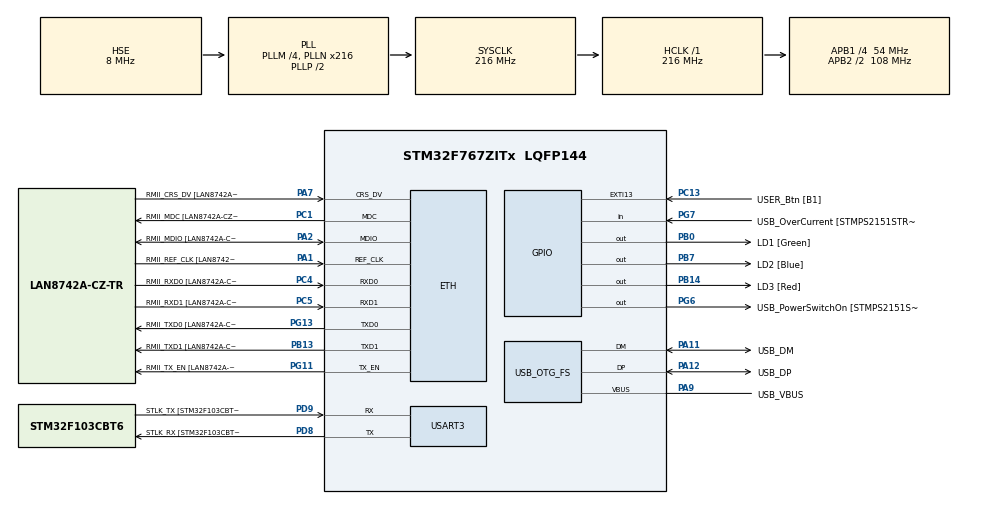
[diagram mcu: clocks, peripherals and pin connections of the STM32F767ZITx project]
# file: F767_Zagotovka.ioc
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ETH.MediaInterface=HAL_ETH_RMII_MODE
ETH.PHY_Name=LAN8742A_PHY_ADDRESS
ETH.PHY_Value=0
ETH.PhyAddress=0
FATFS._MAX_SS=4096
FREERTOS.Queues01=myQueue,16,struct data_pin_t,0,Dynamic,NULL,NULL;usbQueue,16,uint16_t,0,Dynamic,NULL,NULL
FREERTOS.Tasks01=ConfigTask,24,512,StartConfigTask,Default,NULL,Dynamic,NULL,NULL;WebServerTask,24,2048,StartWebServerTask,Default,NULL,Dynamic,NULL,NULL;OutputTask,24,512,StartOutputTask,Default,NULL,Dynamic,NULL,NULL;CronTask,24,512,StartCronTask,Default,NULL,Dynamic,NULL,NULL;InputTask,24,512,StartInputTask,Default,NULL,Dynamic,NULL,NULL;OnewireTask,24,512,StartOnewireTask,Default,NULL,Dynamic,NULL,NULL;EncoderTask,24,512,StartEncoderTask,Default,NULL,Dynamic,NULL,NULL
FREERTOS.configTOTAL_HEAP_SIZE=65536
FREERTOS.configUSE_NEWLIB_REENTRANT=1
Mcu.Family=STM32F7
Mcu.Name=STM32F767ZITx
Mcu.Package=LQFP144
NVIC.ETH_IRQn=true\:5\:0\:false\:false\:true\:true\:true\:true\:true
NVIC.OTG_FS_IRQn=true\:5\:0\:false\:false\:true\:true\:false\:true\:true
NVIC.PriorityGroup=NVIC_PRIORITYGROUP_4
NVIC.TIM6_DAC_IRQn=true\:15\:0\:false\:false\:true\:false\:false\:true\:true
NVIC.TimeBase=TIM6_DAC_IRQn
NVIC.TimeBaseIP=TIM6
PA1.GPIO_Label=RMII_REF_CLK [LAN8742A-CZ-TR_REFCLK0]
PA1.Mode=RMII
PA1.Signal=ETH_REF_CLK
PA10.GPIO_Label=USB_ID
PA10.Signal=USB_OTG_FS_ID
PA11.GPIO_Label=USB_DM
PA11.Mode=Host_Only
PA11.Signal=USB_OTG_FS_DM
PA12.GPIO_Label=USB_DP
PA12.Mode=Host_Only
PA12.Signal=USB_OTG_FS_DP
PA13.GPIO_Label=TMS
PA13.Mode=Trace_Asynchronous_SW
PA13.Signal=SYS_JTMS-SWDIO
PA14.GPIO_Label=TCK
PA14.Mode=Trace_Asynchronous_SW
PA14.Signal=SYS_JTCK-SWCLK
PA2.GPIO_Label=RMII_MDIO [LAN8742A-CZ-TR_MDIO]
PA2.Mode=RMII
PA2.Signal=ETH_MDIO
PA7.GPIO_Label=RMII_CRS_DV [LAN8742A-CZ-TR_CRS_DV]
PA7.Mode=RMII
PA7.Signal=ETH_CRS_DV
PA8.GPIO_Label=USB_SOF [TP1]
PA8.Signal=USB_OTG_FS_SOF
PA9.GPIO_Label=USB_VBUS
PA9.Mode=Activate_VBUS
PA9.Signal=USB_OTG_FS_VBUS
PB0.GPIO_Label=LD1 [Green]
PB0.Signal=GPIO_Output
PB13.GPIO_Label=RMII_TXD1 [LAN8742A-CZ-TR_TXD1]
PB13.Mode=RMII
PB13.Signal=ETH_TXD1
PB14.GPIO_Label=LD3 [Red]
PB14.Signal=GPIO_Output
PB3.GPIO_Label=SWO
PB3.Mode=Trace_Asynchronous_SW
PB3.Signal=SYS_JTDO-SWO
PB7.GPIO_Label=LD2 [Blue]
PB7.Signal=GPIO_Output
PC1.GPIO_Label=RMII_MDC [LAN8742A-CZ-TR_MDC]
PC1.Mode=RMII
PC1.Signal=ETH_MDC
PC13.GPIO_Label=USER_Btn [B1]
PC13.Signal=GPXTI13
PC14/OSC32_IN.Mode=LSE-External-Oscillator
PC14/OSC32_IN.Signal=RCC_OSC32_IN
PC15/OSC32_OUT.Mode=LSE-External-Oscillator
PC15/OSC32_OUT.Signal=RCC_OSC32_OUT
PC4.GPIO_Label=RMII_RXD0 [LAN8742A-CZ-TR_RXD0]
PC4.Mode=RMII
PC4.Signal=ETH_RXD0
PC5.GPIO_Label=RMII_RXD1 [LAN8742A-CZ-TR_RXD1]
PC5.Mode=RMII
PC5.Signal=ETH_RXD1
PD8.GPIO_Label=STLK_RX [STM32F103CBT6_PA3]
PD8.Mode=Asynchronous
PD8.Signal=USART3_TX
PD9.GPIO_Label=STLK_TX [STM32F103CBT6_PA2]
PD9.Mode=Asynchronous
PD9.Signal=USART3_RX
PG11.GPIO_Label=RMII_TX_EN [LAN8742A-CZ-TR_TXEN]
PG11.Mode=RMII
PG11.Signal=ETH_TX_EN
PG13.GPIO_Label=RMII_TXD0 [LAN8742A-CZ-TR_TXD0]
PG13.Mode=RMII
PG13.Signal=ETH_TXD0
PG6.GPIO_Label=USB_PowerSwitchOn [STMPS2151STR_EN]
PG6.Signal=GPIO_Output
PG7.GPIO_Label=USB_OverCurrent [STMPS2151STR_FAULT]
PG7.Signal=GPIO_Input
PH0/OSC_IN.GPIO_Label=MCO [STM32F103CBT6_PA8]
PH0/OSC_IN.Mode=HSE-External-Oscillator
PH0/OSC_IN.Signal=RCC_OSC_IN
PH1/OSC_OUT.Mode=HSE-External-Oscillator
PH1/OSC_OUT.Signal=RCC_OSC_OUT
ProjectManager.HeapSize=0x200
ProjectManager.StackSize=0x400
ProjectManager.TargetToolchain=STM32CubeIDE
RCC.48MHZClocksFreq_Value=24000000
RCC.AHBFreq_Value=216000000
RCC.APB1CLKDivider=RCC_HCLK_DIV4
RCC.APB1Freq_Value=54000000
RCC.APB1TimFreq_Value=108000000
RCC.APB2CLKDivider=RCC_HCLK_DIV2
RCC.APB2Freq_Value=108000000
RCC.APB2TimFreq_Value=216000000
RCC.CortexFreq_Value=216000000
RCC.HCLKFreq_Value=216000000
RCC.HSE_VALUE=8000000
RCC.HSI_VALUE=16000000
RCC.PLLM=4
RCC.PLLMUL=RCC_PLL_MUL9
RCC.PLLN=216
RCC.PLLQ=9
RCC.PRESCALERUSB=RCC_USBCLKSOURCE_PLL_DIV1_5
RCC.SYSCLKFreq_VALUE=216000000
RCC.SYSCLKSource=RCC_SYSCLKSOURCE_PLLCLK
RCC.SYSCLKSourceVirtual=RCC_SYSCLKSOURCE_PLLCLK
RCC.USBFreq_Value=48000000
RCC.VCOOutputFreq_Value=432000000
USART3.VirtualMode-Asynchronous=VM_ASYNC
USB_HOST.BSP.number=1
USB_HOST.USBH_HandleTypeDef-MSC_FS=hUsbHostFS
USB_HOST.USBH_PROCESS_STACK_SIZE-MSC_FS=8*128
USB_HOST.VirtualModeFS=Msc
USB_HOST0.BSP.STBoard=false
USB_HOST0.BSP.api=Unknown
USB_HOST0.BSP.condition=SW_VBUS_DRIVE_MSC_FS \= false
USB_HOST0.BSP.instance=PG6
USB_HOST0.BSP.ip=GPIO
USB_HOST0.BSP.mode=Output
USB_HOST0.BSP.name=Drive_VBUS_FS
USB_HOST0.BSP.solution=PG6
USB_OTG_FS.VirtualMode=Host_Only
USB_OTG_FS.phy_itface=HCD_PHY_EMBEDDED
VP_FATFS_VS_USB.Mode=USB
VP_FREERTOS_VS_CMSIS_V2.Mode=CMSIS_V2
VP_RNG_VS_RNG.Mode=RNG_Activate
VP_SYS_VS_tim6.Mode=TIM6
VP_USB_HOST_VS_USB_HOST_MSC_FS.Mode=MSC_FS
board=NUCLEO-F767ZI

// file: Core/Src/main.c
/* USER CODE BEGIN Header */
/**
  ******************************************************************************
  * @file           : main.c
  * @brief          : Main program body
  ******************************************************************************
  * @attention
  *
  * Copyright (c) 2024 STMicroelectronics.
  * All rights reserved.
  *
  * This software is licensed under terms that can be found in the LICENSE file
  * in the root directory of this software component.
  * If no LICENSE file comes with this software, it is provided AS-IS.
  *
  ******************************************************************************
  */
/* USER CODE END Header */
#include "main.h"
#include "string.h"
#include "cmsis_os.h"
#include "fatfs.h"
#include "usb_host.h"

/* USER CODE BEGIN Includes */
#include "mongoose.h"
#include "hal.h"
#include "net.h"
#include "db.h"
#include "multi_button.h"
#include "cJSON.h"
#include "setings.h"
#include "lwdtc.h" //
/* USER CODE END Includes */

/* USER CODE BEGIN PTD */
// CRON variable
struct tm *timez;
time_t cronetime;
time_t cronetime_old;

// SNTP variable
extern uint64_t s_boot_timestamp;

TIM_HandleTypeDef htim[NUMPIN];
data_pin_t data_pin;

struct Button button[NUMPIN];

extern ApplicationTypeDef Appli_state;
extern struct dbSettings SetSettings;
extern struct dbCron dbCrontxt[MAXSIZE];
extern struct dbPinsConf PinsConf[NUMPIN];
extern struct dbPinsInfo PinsInfo[NUMPIN];
extern struct dbPinToPin PinsLinks[NUMPINLINKS];

/* USER CODE END PTD */

#if defined ( __ICCARM__ ) /*!< IAR Compiler */
#pragma location=0x2007c000
ETH_DMADescTypeDef  DMARxDscrTab[ETH_RX_DESC_CNT]; /* Ethernet Rx DMA Descriptors */
#pragma location=0x2007c0a0
ETH_DMADescTypeDef  DMATxDscrTab[ETH_TX_DESC_CNT]; /* Ethernet Tx DMA Descriptors */

#elif defined ( __CC_ARM )  /* MDK ARM Compiler */

__attribute__((at(0x2007c000))) ETH_DMADescTypeDef  DMARxDscrTab[ETH_RX_DESC_CNT]; /* Ethernet Rx DMA Descriptors */
__attribute__((at(0x2007c0a0))) ETH_DMADescTypeDef  DMATxDscrTab[ETH_TX_DESC_CNT]; /* Ethernet Tx DMA Descriptors */

#elif defined ( __GNUC__ ) /* GNU Compiler */

ETH_DMADescTypeDef DMARxDscrTab[ETH_RX_DESC_CNT] __attribute__((section(".RxDecripSection"))); /* Ethernet Rx DMA Descriptors */
ETH_DMADescTypeDef DMATxDscrTab[ETH_TX_DESC_CNT] __attribute__((section(".TxDecripSection")));   /* Ethernet Tx DMA Descriptors */
#endif

ETH_TxPacketConfig TxConfig;

ETH_HandleTypeDef heth;

RNG_HandleTypeDef hrng;

UART_HandleTypeDef huart3;

/* Definitions for ConfigTask */
osThreadId_t ConfigTaskHandle;
const osThreadAttr_t ConfigTask_attributes = {
  .name = "ConfigTask",
  .stack_size = 512 * 4,
  .priority = (osPriority_t) osPriorityNormal,
};
/* Definitions for WebServerTask */
osThreadId_t WebServerTaskHandle;
const osThreadAttr_t WebServerTask_attributes = {
  .name = "WebServerTask",
  .stack_size = 2048 * 4,
  .priority = (osPriority_t) osPriorityNormal,
};
/* Definitions for OutputTask */
osThreadId_t OutputTaskHandle;
const osThreadAttr_t OutputTask_attributes = {
  .name = "OutputTask",
  .stack_size = 512 * 4,
  .priority = (osPriority_t) osPriorityNormal,
};
/* Definitions for CronTask */
osThreadId_t CronTaskHandle;
const osThreadAttr_t CronTask_attributes = {
  .name = "CronTask",
  .stack_size = 512 * 4,
  .priority = (osPriority_t) osPriorityNormal,
};
/* Definitions for InputTask */
osThreadId_t InputTaskHandle;
const osThreadAttr_t InputTask_attributes = {
  .name = "InputTask",
  .stack_size = 512 * 4,
  .priority = (osPriority_t) osPriorityNormal,
};
/* Definitions for OnewireTask */
osThreadId_t OnewireTaskHandle;
const osThreadAttr_t OnewireTask_attributes = {
  .name = "OnewireTask",
  .stack_size = 512 * 4,
  .priority = (osPriority_t) osPriorityNormal,
};
/* Definitions for EncoderTask */
osThreadId_t EncoderTaskHandle;
const osThreadAttr_t EncoderTask_attributes = {
  .name = "EncoderTask",
  .stack_size = 512 * 4,
  .priority = (osPriority_t) osPriorityNormal,
};
/* Definitions for myQueue */
osMessageQueueId_t myQueueHandle;
const osMessageQueueAttr_t myQueue_attributes = {
  .name = "myQueue"
};
/* Definitions for usbQueue */
osMessageQueueId_t usbQueueHandle;
const osMessageQueueAttr_t usbQueue_attributes = {
  .name = "usbQueue"
};

void SystemClock_Config(void);
static void MX_GPIO_Init(void);
static void MX_ETH_Init(void);
static void MX_USART3_UART_Init(void);
static void MX_RNG_Init(void);
void StartConfigTask(void *argument);
void StartWebServerTask(void *argument);
void StartOutputTask(void *argument);
void StartCronTask(void *argument);
void StartInputTask(void *argument);
void StartOnewireTask(void *argument);
void StartEncoderTask(void *argument);

/* USER CODE BEGIN 0 */
void mg_random(void *buf, size_t len) {  // Use on-board RNG
  extern RNG_HandleTypeDef hrng;
  for (size_t n = 0; n < len; n += sizeof(uint32_t)) {
    uint32_t r;
    HAL_RNG_GenerateRandomNumber(&hrng, &r);
    memcpy((char *) buf + n, &r, n + sizeof(r) > len ? len - n : sizeof(r));
  }
}

static void timer_fn(void *arg) {
  struct mg_tcpip_if *ifp = arg;                         // And show
  const char *names[] = {"down", "up", "req", "ready"};  // network stats
  MG_INFO(("Ethernet: %s, IP: %M, rx:%u, tx:%u, dr:%u, er:%u",
           names[ifp->state], mg_print_ip4, &ifp->ip, ifp->nrecv, ifp->nsent,
           ifp->ndrop, ifp->nerr));
}

uint64_t mg_millis(void) {
  return HAL_GetTick();
}

/* USER CODE END 0 */

int main(void)
{

  /* MCU Configuration--------------------------------------------------------*/

  /* Reset of all peripherals, Initializes the Flash interface and the Systick. */
  HAL_Init();

  /* Configure the system clock */
  SystemClock_Config();

  /* Initialize all configured peripherals */
  MX_GPIO_Init();
  MX_ETH_Init();
  MX_USART3_UART_Init();
  MX_RNG_Init();

  /* USER CODE BEGIN 2 */
  test_init();
  /* USER CODE END 2 */

  /* Init scheduler */
  osKernelInitialize();

  /* Create the queue(s) */
  /* creation of myQueue */
  myQueueHandle = osMessageQueueNew (16, sizeof(struct data_pin_t), &myQueue_attributes);

  /* creation of usbQueue */
  usbQueueHandle = osMessageQueueNew (16, sizeof(uint16_t), &usbQueue_attributes);

  /* Create the thread(s) */
  /* creation of ConfigTask */
  ConfigTaskHandle = osThreadNew(StartConfigTask, NULL, &ConfigTask_attributes);

  /* creation of WebServerTask */
  WebServerTaskHandle = osThreadNew(StartWebServerTask, NULL, &WebServerTask_attributes);

  /* creation of OutputTask */
  OutputTaskHandle = osThreadNew(StartOutputTask, NULL, &OutputTask_attributes);

  /* creation of CronTask */
  CronTaskHandle = osThreadNew(StartCronTask, NULL, &CronTask_attributes);

  /* creation of InputTask */
  InputTaskHandle = osThreadNew(StartInputTask, NULL, &InputTask_attributes);

  /* creation of OnewireTask */
  OnewireTaskHandle = osThreadNew(StartOnewireTask, NULL, &OnewireTask_attributes);

  /* creation of EncoderTask */
  EncoderTaskHandle = osThreadNew(StartEncoderTask, NULL, &EncoderTask_attributes);

  /* Start scheduler */
  osKernelStart();

  /* We should never get here as control is now taken by the scheduler */

  /* Infinite loop */
  while (1)
  {

  }
}

void SystemClock_Config(void)
{
  RCC_OscInitTypeDef RCC_OscInitStruct = {0};
  RCC_ClkInitTypeDef RCC_ClkInitStruct = {0};

  /** Configure LSE Drive Capability
  */
  HAL_PWR_EnableBkUpAccess();

  /** Configure the main internal regulator output voltage
  */
  __HAL_RCC_PWR_CLK_ENABLE();
  __HAL_PWR_VOLTAGESCALING_CONFIG(PWR_REGULATOR_VOLTAGE_SCALE1);

  /** Initializes the RCC Oscillators according to the specified parameters
  * in the RCC_OscInitTypeDef structure.
  */
  RCC_OscInitStruct.OscillatorType = RCC_OSCILLATORTYPE_HSE;
  RCC_OscInitStruct.HSEState = RCC_HSE_ON;
  RCC_OscInitStruct.PLL.PLLState = RCC_PLL_ON;
  RCC_OscInitStruct.PLL.PLLSource = RCC_PLLSOURCE_HSE;
  RCC_OscInitStruct.PLL.PLLM = 4;
  RCC_OscInitStruct.PLL.PLLN = 216;
  RCC_OscInitStruct.PLL.PLLP = RCC_PLLP_DIV2;
  RCC_OscInitStruct.PLL.PLLQ = 9;
  RCC_OscInitStruct.PLL.PLLR = 2;
  if (HAL_RCC_OscConfig(&RCC_OscInitStruct) != HAL_OK)
  {
    Error_Handler();
  }

  /** Activate the Over-Drive mode
  */
  if (HAL_PWREx_EnableOverDrive() != HAL_OK)
  {
    Error_Handler();
  }

  /** Initializes the CPU, AHB and APB buses clocks
  */
  RCC_ClkInitStruct.ClockType = RCC_CLOCKTYPE_HCLK|RCC_CLOCKTYPE_SYSCLK
                              |RCC_CLOCKTYPE_PCLK1|RCC_CLOCKTYPE_PCLK2;
  RCC_ClkInitStruct.SYSCLKSource = RCC_SYSCLKSOURCE_PLLCLK;
  RCC_ClkInitStruct.AHBCLKDivider = RCC_SYSCLK_DIV1;
  RCC_ClkInitStruct.APB1CLKDivider = RCC_HCLK_DIV4;
  RCC_ClkInitStruct.APB2CLKDivider = RCC_HCLK_DIV2;

  if (HAL_RCC_ClockConfig(&RCC_ClkInitStruct, FLASH_LATENCY_7) != HAL_OK)
  {
    Error_Handler();
  }
}

static void MX_ETH_Init(void)
{

   static uint8_t MACAddr[6];

  heth.Instance = ETH;
  MACAddr[0] = 0x00;
  MACAddr[1] = 0x80;
  MACAddr[2] = 0xE1;
  MACAddr[3] = 0x00;
  MACAddr[4] = 0x00;
  MACAddr[5] = 0x00;
  heth.Init.MACAddr = &MACAddr[0];
  heth.Init.MediaInterface = HAL_ETH_RMII_MODE;
  heth.Init.TxDesc = DMATxDscrTab;
  heth.Init.RxDesc = DMARxDscrTab;
  heth.Init.RxBuffLen = 1524;

  if (HAL_ETH_Init(&heth) != HAL_OK)
  {
    Error_Handler();
  }

  memset(&TxConfig, 0 , sizeof(ETH_TxPacketConfig));
  TxConfig.Attributes = ETH_TX_PACKETS_FEATURES_CSUM | ETH_TX_PACKETS_FEATURES_CRCPAD;
  TxConfig.ChecksumCtrl = ETH_CHECKSUM_IPHDR_PAYLOAD_INSERT_PHDR_CALC;
  TxConfig.CRCPadCtrl = ETH_CRC_PAD_INSERT;

}

static void MX_RNG_Init(void)
{

  hrng.Instance = RNG;
  if (HAL_RNG_Init(&hrng) != HAL_OK)
  {
    Error_Handler();
  }

}

static void MX_USART3_UART_Init(void)
{

  huart3.Instance = USART3;
  huart3.Init.BaudRate = 115200;
  huart3.Init.WordLength = UART_WORDLENGTH_8B;
  huart3.Init.StopBits = UART_STOPBITS_1;
  huart3.Init.Parity = UART_PARITY_NONE;
  huart3.Init.Mode = UART_MODE_TX_RX;
  huart3.Init.HwFlowCtl = UART_HWCONTROL_NONE;
  huart3.Init.OverSampling = UART_OVERSAMPLING_16;
  huart3.Init.OneBitSampling = UART_ONE_BIT_SAMPLE_DISABLE;
  huart3.AdvancedInit.AdvFeatureInit = UART_ADVFEATURE_NO_INIT;
  if (HAL_UART_Init(&huart3) != HAL_OK)
  {
    Error_Handler();
  }

}

static void MX_GPIO_Init(void)
{
  GPIO_InitTypeDef GPIO_InitStruct = {0};

  /* GPIO Ports Clock Enable */
  __HAL_RCC_GPIOC_CLK_ENABLE();
  __HAL_RCC_GPIOH_CLK_ENABLE();
  __HAL_RCC_GPIOA_CLK_ENABLE();
  __HAL_RCC_GPIOB_CLK_ENABLE();
  __HAL_RCC_GPIOD_CLK_ENABLE();
  __HAL_RCC_GPIOG_CLK_ENABLE();

  /*Configure GPIO pin Output Level */
  HAL_GPIO_WritePin(GPIOB, LD1_Pin|LD3_Pin|LD2_Pin, GPIO_PIN_RESET);

  /*Configure GPIO pin Output Level */
  HAL_GPIO_WritePin(USB_PowerSwitchOn_GPIO_Port, USB_PowerSwitchOn_Pin, GPIO_PIN_RESET);

  /*Configure GPIO pin : USER_Btn_Pin */
  GPIO_InitStruct.Pin = USER_Btn_Pin;
  GPIO_InitStruct.Mode = GPIO_MODE_IT_RISING;
  GPIO_InitStruct.Pull = GPIO_NOPULL;
  HAL_GPIO_Init(USER_Btn_GPIO_Port, &GPIO_InitStruct);

  /*Configure GPIO pins : LD1_Pin LD3_Pin LD2_Pin */
  GPIO_InitStruct.Pin = LD1_Pin|LD3_Pin|LD2_Pin;
  GPIO_InitStruct.Mode = GPIO_MODE_OUTPUT_PP;
  GPIO_InitStruct.Pull = GPIO_NOPULL;
  GPIO_InitStruct.Speed = GPIO_SPEED_FREQ_LOW;
  HAL_GPIO_Init(GPIOB, &GPIO_InitStruct);

  /*Configure GPIO pin : USB_PowerSwitchOn_Pin */
  GPIO_InitStruct.Pin = USB_PowerSwitchOn_Pin;
  GPIO_InitStruct.Mode = GPIO_MODE_OUTPUT_PP;
  GPIO_InitStruct.Pull = GPIO_NOPULL;
  GPIO_InitStruct.Speed = GPIO_SPEED_FREQ_LOW;
  HAL_GPIO_Init(USB_PowerSwitchOn_GPIO_Port, &GPIO_InitStruct);

  /*Configure GPIO pin : USB_OverCurrent_Pin */
  GPIO_InitStruct.Pin = USB_OverCurrent_Pin;
  GPIO_InitStruct.Mode = GPIO_MODE_INPUT;
  GPIO_InitStruct.Pull = GPIO_NOPULL;
  HAL_GPIO_Init(USB_OverCurrent_GPIO_Port, &GPIO_InitStruct);

}

/* USER CODE BEGIN 4 */

// int pause  0 - до паузы 1 - после паузы
void parse_string(char *str, time_t cronetime_olds, int i, int pause) {
	char *token;
	char *saveptr;
	int flag = 0;
	int k = 0;
	int pin = 0;
	char delim[] = ";";

	// Разбиваем строку на элементы, разделенные точкой с запятой
	token = strtok_r(str, delim, &saveptr);
	while (token != NULL) {
		char *end_token;
		// Если нашли элемент "p", устанавливаем флаг

		if (token[0] == 'p') {
			char *newstring = token + 1;
			//printf("Pause %d seconds\n", atoi(newstring));
			dbCrontxt[i].ptime = cronetime_olds + atoi(newstring);
			flag = 1;
		}
		// в зависимости от флага отправляем в очередь до или после паузы
		if (flag == pause) {
			//printf("%s\n", token);

			//strcpy(data_pin.message, pch);

			char *token2 = strtok_r(token, ":", &end_token);
			//printf("pin = %d\n", atoi(token2));

			while (token2 != NULL) {
				// тут отправляем в очередь
				if (k == 0) {
					pin = atoi(token2);
					if(pin != 0){
						data_pin.pin = pin-1;
					}
					//printf("pin = %s\n", token2);
				}
				if (k == 1) {
					data_pin.action = atoi(token2);
					//printf("action = %s\n", token2);
				}

				token2 = strtok_r(NULL, ":", &end_token);
				k++;
				// printf("action = %d\n", atoi(token2));
			}

			if(k == 2) {
				xQueueSend(myQueueHandle, (void* ) &data_pin, 0);
			}
			k = 0;
		}
		token = strtok_r(NULL, delim, &saveptr);
	}
}
/* USER CODE END 4 */

void StartConfigTask(void *argument)
{
  /* USER CODE BEGIN StartConfigTask */
  /* init code for USB_HOST */
  int usbflag = 1;
  uint16_t usbnum = 0;
  FILINFO finfo;

  MX_FATFS_Init();
  MX_USB_HOST_Init();
  /* Infinite loop */
  for(;;)
  {
		switch (Appli_state) {
		case APPLICATION_READY:
			if (usbflag == 1) {
				osDelay(1000);
				printf("APPLICATION_READY! \r\n");

				FRESULT fresult = f_stat("setings.ini", &finfo);
				if (fresult == FR_OK) {
					GetSetingsConfig();
					GetCronConfig();
					GetPinConfig();
					GetPinToPin();

					InitPin();

					xTaskNotifyGive(WebServerTaskHandle); // ТО ВКЛЮЧАЕМ ЗАДАЧУ WebServerTask
					xTaskNotifyGive(CronTaskHandle); // И ВКЛЮЧАЕМ ЗАДАЧУ CronTask
					xTaskNotifyGive(OutputTaskHandle); // И ВКЛЮЧАЕМ ЗАДАЧУ OutputTask
					xTaskNotifyGive(InputTaskHandle); // И ВКЛЮЧАЕМ ЗАДАЧУ InputTask
					xTaskNotifyGive(EncoderTaskHandle); // И ВКЛЮЧАЕМ ЗАДАЧУ PWMTask

				} else {
					StartSetingsConfig();

					xTaskNotifyGive(WebServerTaskHandle); // ТО ВКЛЮЧАЕМ ЗАДАЧУ WebServerTask
					xTaskNotifyGive(CronTaskHandle); // И ВКЛЮЧАЕМ ЗАДАЧУ CronTask
					xTaskNotifyGive(OutputTaskHandle); // И ВКЛЮЧАЕМ ЗАДАЧУ OutputTask
					xTaskNotifyGive(InputTaskHandle); // И ВКЛЮЧАЕМ ЗАДАЧУ InputTask
					xTaskNotifyGive(EncoderTaskHandle); // И ВКЛЮЧАЕМ ЗАДАЧУ PWMTask
				}
				usbflag = 0;
			}
			/******************************************************************************************/
			// Функция для чтения целых чисел из очереди
			if (xQueueReceive(usbQueueHandle, &usbnum, portMAX_DELAY) == pdTRUE) {
				switch (usbnum) {
				case 1:
					SetPinConfig();
					break;
				case 2:
					SetSetingsConfig();
					break;
				case 3:
					SetCronConfig();
					break;
				case 4:
					SetPinToPin();
					break;
				default:
					//printf("Wrong data! \r\n");
					break;
				}
				printf("+++ Received number: %u\n", usbnum);
			}
			/******************************************************************************************/

			break;
		default:
			//printf("Wrong data! \r\n");
			break;
		}
    osDelay(1);
  }
  /* USER CODE END StartConfigTask */
}

void StartWebServerTask(void *argument)
{
  /* USER CODE BEGIN StartWebServerTask */
	ulTaskNotifyTake(0, portMAX_DELAY);
  /* Infinite loop */
	//ulTaskNotifyTake(0, portMAX_DELAY);
  /* Infinite loop */
	struct mg_mgr mgr;        // Initialise Mongoose event manager
	mg_mgr_init(&mgr);        // and attach it to the interface
	mg_log_set(MG_LL_DEBUG);  // Set log level

	// Initialise Mongoose network stack
	struct mg_tcpip_driver_stm32f_data driver_data = {.mdc_cr = 4};
    struct mg_tcpip_if mif = {.mac = GENERATE_LOCALLY_ADMINISTERED_MAC(),
                            // Uncomment below for static configuration:
                             //.ip = mg_htonl(MG_U32(192, 168, 11, 80)),
                             //.mask = mg_htonl(MG_U32(255, 255, 255, 0)),
                             //.gw = mg_htonl(MG_U32(192, 168, 11, 1)),
	                          .driver = &mg_tcpip_driver_stm32f,
	                          .driver_data = &driver_data};
	mg_tcpip_init(&mgr, &mif);

	//mg_timer_add(&mgr, 1000, MG_TIMER_REPEAT, timer_fn, &mif);

	MG_INFO(("MAC: %M. Waiting for IP...", mg_print_mac, mif.mac));
	while (mif.state != MG_TCPIP_STATE_READY) {
	    mg_mgr_poll(&mgr, 0);
	}

	MG_INFO(("Initialising application.."));
    web_init(&mgr);

	MG_INFO(("Starting event loop"));
	for (;;) mg_mgr_poll(&mgr, 1);  // Infinite event loop
	(void) argument;

  /* USER CODE END StartWebServerTask */
}

void StartOutputTask(void *argument)
{
  /* USER CODE BEGIN StartOutputTask */
	ulTaskNotifyTake(0, portMAX_DELAY);
  /* Infinite loop */
  for(;;)
  {
		if (xQueueReceive(myQueueHandle, &data_pin, portMAX_DELAY) == pdTRUE) {
			if (data_pin.action == 0) {
				//@todo  проверить что data_pin.pin число
				HAL_GPIO_WritePin(PinsInfo[data_pin.pin].gpio_name, PinsInfo[data_pin.pin].hal_pin, GPIO_PIN_RESET);
				//printf("%d-%d  \r\n", (int) data_pin.pin, (int) data_pin.action);
			}
			if (data_pin.action == 1) {
				//@todo  проверить что data_pin.pin число
				HAL_GPIO_WritePin(PinsInfo[data_pin.pin].gpio_name, PinsInfo[data_pin.pin].hal_pin, GPIO_PIN_SET);
				//printf("%d-%d  \r\n", (int) data_pin.pin, (int) data_pin.action);
			}
			if (data_pin.action == 2) {
				//@todo  проверить что data_pin.pin число
				HAL_GPIO_TogglePin(PinsInfo[data_pin.pin].gpio_name, PinsInfo[data_pin.pin].hal_pin);
				//printf("%d-%d  \r\n", (int) data_pin.pin, (int) data_pin.action);
			}
		}
    osDelay(1);
  }
  /* USER CODE END StartOutputTask */
}

void StartCronTask(void *argument)
{
  /* USER CODE BEGIN StartCronTask */
	ulTaskNotifyTake(0, portMAX_DELAY);

	static lwdtc_cron_ctx_t cron_ctxs[MAXSIZE];
	int i = 0;
	char str[40] = { 0 };

	/* Define context for CRON, used to parse data to */
	size_t fail_index;
	printf("Count task %d\r\n", LWDTC_ARRAYSIZE(dbCrontxt));
	/* Parse all cron strings */
	if (lwdtc_cron_parse_multi(cron_ctxs, dbCrontxt, MAXSIZE, &fail_index)
			!= lwdtcOK) {
		printf("Failed to parse cron at index %d\r\n", (int) fail_index);
	}
	printf("CRONs parsed and ready to go\r\n");

  /* Infinite loop */
  for(;;)
  {

	if(s_boot_timestamp != 0){
		//MG_INFO(("TIME: %lld ms ", s_boot_timestamp));
		cronetime = (time_t) (s_boot_timestamp / 1000) + (mg_millis() / 1000);
		if (cronetime != cronetime_old) {
			cronetime_old = cronetime;
			timez = localtime(&cronetime);
			i = 0;

			while (i < LWDTC_ARRAYSIZE(dbCrontxt)) {
				if (cronetime >= dbCrontxt[i].ptime
						&& dbCrontxt[i].ptime != 0) {

					strcpy(str, dbCrontxt[i].activ);
					parse_string(str, cronetime_old, i, 1);
					dbCrontxt[i].ptime = 0;
				}
				i++;
			}
			i = 0;

			/* Check if CRON should execute */
			while (i < LWDTC_ARRAYSIZE(cron_ctxs)) {
				if (lwdtc_cron_is_valid_for_time(timez, cron_ctxs, &i)
						== lwdtcOK) {

					strcpy(str, dbCrontxt[i].activ);
					parse_string(str, cronetime_old, i, 0);
					//xQueueSend(myQueueHandle, &i, 0);
				}
				i++;
			}

		}

		//MG_INFO(("TIME s: %lld s ", cronetime));
	}

    osDelay(1);
  }
  /* USER CODE END StartCronTask */
}

void StartInputTask(void *argument)
{
  /* USER CODE BEGIN StartInputTask */
	ulTaskNotifyTake(0, portMAX_DELAY);
  /* Infinite loop */
  for(;;)
  {
    osDelay(1);
  }
  /* USER CODE END StartInputTask */
}

void StartOnewireTask(void *argument)
{
  /* USER CODE BEGIN StartOnewireTask */
  ulTaskNotifyTake(0, portMAX_DELAY);
  /* Infinite loop */
  for(;;)
  {
    osDelay(1);
  }
  /* USER CODE END StartOnewireTask */
}

void StartEncoderTask(void *argument)
{
  /* USER CODE BEGIN StartEncoderTask */
  ulTaskNotifyTake(0, portMAX_DELAY);
  /* Infinite loop */
  for(;;)
  {
    osDelay(1);
  }
  /* USER CODE END StartEncoderTask */
}

void HAL_TIM_PeriodElapsedCallback(TIM_HandleTypeDef *htim)
{
  if (htim->Instance == TIM6) {
    HAL_IncTick();
  }
}

void Error_Handler(void)
{
  __disable_irq();
  while (1)
  {
  }
}
